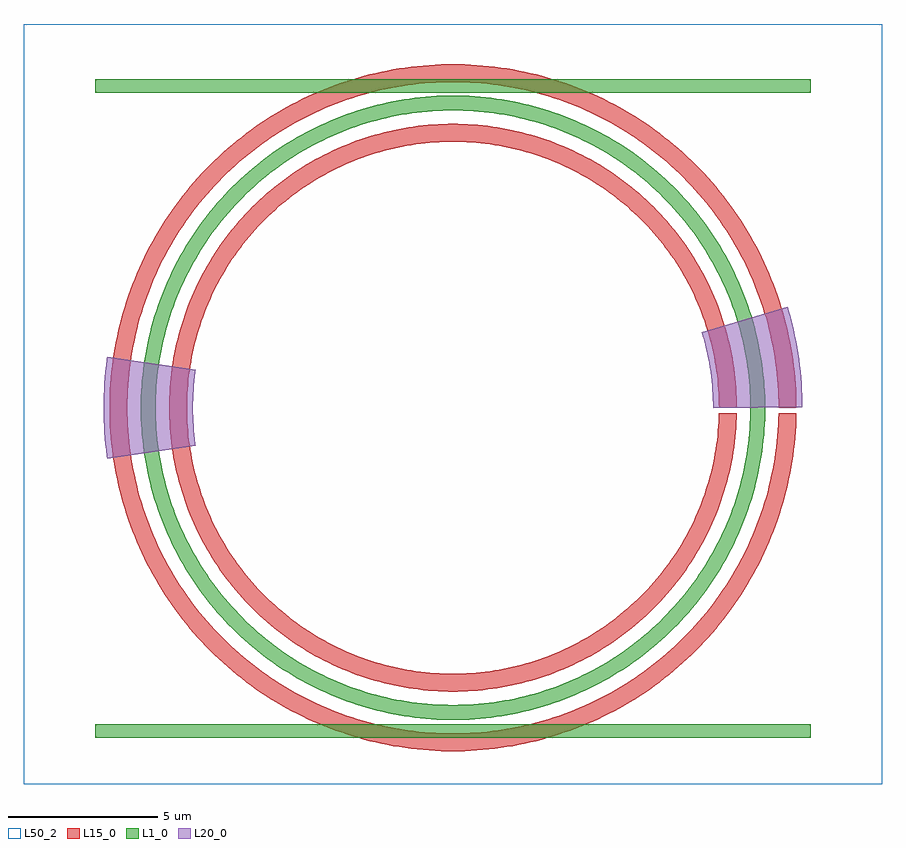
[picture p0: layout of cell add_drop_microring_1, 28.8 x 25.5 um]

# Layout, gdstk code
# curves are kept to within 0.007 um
import gdstk
lib = gdstk.Library(unit=1e-6, precision=1e-09)
def R(c, l, rs):  # rectangles x0, y0, x1, y1
    for r in rs: c.add(gdstk.rectangle(r[:2], r[2:], *l))
def P(c, l, *ps):  # polygons
    for p in ps: c.add(gdstk.Polygon(p, *l))
L1_0 = (1, 0)
L15_0 = (15, 0)
L20_0 = (20, 0)
L50_2 = (50, 2)

add_drop_microring_1 = lib.new_cell('add_drop_microring_1')
R(add_drop_microring_1, L1_0, [(0,-0.225,24,0.225), (0,21.425,24,21.875)])
P(add_drop_microring_1, L1_0, [(21.975,10.85),(21.969,11.198),(21.937,11.719),(21.878,12.238),(21.792,12.753),(21.679,13.263),(21.589,13.599),(21.432,14.098),(21.249,14.587),(21.04,15.066),(20.807,15.533),(20.55,15.987),(20.27,16.428),(19.966,16.853),(19.641,17.262),(19.413,17.525),(19.053,17.903),(18.675,18.263),(18.412,18.491),(18.003,18.816),(17.578,19.12),(17.137,19.4),(16.683,19.657),(16.216,19.89),(15.737,20.099),(15.248,20.282),(14.749,20.439),(14.413,20.529),(13.903,20.642),(13.388,20.728),(12.869,20.787),(12.348,20.819),(12,20.825),(11.652,20.819),(11.131,20.787),(10.612,20.728),(10.097,20.642),(9.587,20.529),(9.251,20.439),(8.752,20.282),(8.263,20.099),(7.943,19.963),(7.471,19.738),(7.013,19.489),(6.567,19.216),(6.137,18.92),(5.859,18.71),(5.588,18.491),(5.197,18.145),(4.947,17.903),(4.587,17.525),(4.359,17.262),(4.034,16.853),(3.73,16.428),(3.541,16.136),(3.361,15.837),(3.112,15.379),(2.887,14.907),(2.627,14.262),(2.411,13.599),(2.281,13.094),(2.148,12.41),(2.08,11.893),(2.031,11.198),(2.027,10.676),(1.527,10.667),(1.525,10.85),(1.539,11.398),(1.582,11.945),(1.654,12.489),(1.717,12.849),(1.836,13.384),(1.983,13.913),(2.157,14.433),(2.358,14.943),(2.506,15.277),(2.751,15.768),(3.021,16.245),(3.316,16.708),(3.634,17.154),(3.859,17.442),(4.216,17.859),(4.593,18.257),(4.991,18.634),(5.408,18.991),(5.696,19.216),(6.142,19.534),(6.605,19.829),(7.082,20.099),(7.573,20.344),(7.907,20.492),(8.417,20.693),(8.937,20.867),(9.466,21.014),(10.001,21.133),(10.361,21.196),(10.905,21.268),(11.452,21.311),(12,21.325),(12.548,21.311),(13.095,21.268),(13.639,21.196),(13.999,21.133),(14.534,21.014),(15.063,20.867),(15.583,20.693),(16.093,20.492),(16.592,20.265),(17.078,20.012),(17.551,19.733),(18.008,19.431),(18.449,19.104),(18.872,18.756),(19.277,18.385),(19.535,18.127),(19.906,17.722),(20.366,17.154),(20.684,16.708),(20.979,16.245),(21.249,15.768),(21.494,15.277),(21.712,14.774),(21.904,14.26),(22.017,13.913),(22.164,13.384),(22.316,12.669),(22.418,11.945),(22.461,11.398),(22.473,11.033),(22.475,10.85)],
  [(2.025,10.85),(2.031,10.502),(2.063,9.981),(2.122,9.462),(2.208,8.947),(2.321,8.437),(2.411,8.101),(2.568,7.602),(2.751,7.113),(2.96,6.634),(3.193,6.167),(3.45,5.713),(3.73,5.272),(4.034,4.847),(4.359,4.438),(4.587,4.175),(4.947,3.797),(5.325,3.437),(5.588,3.209),(5.997,2.884),(6.422,2.58),(6.863,2.3),(7.317,2.043),(7.784,1.81),(8.263,1.601),(8.752,1.418),(9.251,1.261),(9.587,1.171),(10.097,1.058),(10.612,0.972),(11.131,0.913),(11.652,0.881),(12,0.875),(12.348,0.881),(12.869,0.913),(13.388,0.972),(13.903,1.058),(14.413,1.171),(14.749,1.261),(15.248,1.418),(15.737,1.601),(16.057,1.737),(16.529,1.962),(16.987,2.211),(17.433,2.484),(17.863,2.78),(18.141,2.99),(18.412,3.209),(18.803,3.555),(19.053,3.797),(19.413,4.175),(19.641,4.438),(19.966,4.847),(20.27,5.272),(20.459,5.564),(20.639,5.863),(20.888,6.321),(21.113,6.793),(21.373,7.438),(21.589,8.101),(21.719,8.606),(21.852,9.29),(21.92,9.807),(21.969,10.502),(21.973,11.024),(22.473,11.033),(22.475,10.85),(22.461,10.302),(22.418,9.755),(22.346,9.211),(22.283,8.851),(22.164,8.316),(22.017,7.787),(21.843,7.267),(21.642,6.757),(21.494,6.423),(21.249,5.932),(20.979,5.455),(20.684,4.992),(20.366,4.546),(20.141,4.258),(19.784,3.841),(19.407,3.443),(19.009,3.066),(18.592,2.709),(18.304,2.484),(17.858,2.166),(17.395,1.871),(16.918,1.601),(16.427,1.356),(16.093,1.208),(15.583,1.007),(15.063,0.833),(14.534,0.686),(13.999,0.567),(13.639,0.504),(13.095,0.432),(12.548,0.389),(12,0.375),(11.452,0.389),(10.905,0.432),(10.361,0.504),(10.001,0.567),(9.466,0.686),(8.937,0.833),(8.417,1.007),(7.907,1.208),(7.408,1.435),(6.922,1.688),(6.449,1.967),(5.992,2.269),(5.551,2.596),(5.128,2.944),(4.723,3.315),(4.465,3.573),(4.094,3.978),(3.634,4.546),(3.316,4.992),(3.021,5.455),(2.751,5.932),(2.506,6.423),(2.288,6.926),(2.096,7.44),(1.983,7.787),(1.836,8.316),(1.684,9.031),(1.582,9.755),(1.539,10.302),(1.527,10.667),(1.525,10.85)])
P(add_drop_microring_1, L15_0, [(23.525,10.85),(23.509,11.453),(23.462,12.055),(23.383,12.653),(23.273,13.246),(23.132,13.833),(22.961,14.411),(22.76,14.98),(22.609,15.353),(22.359,15.902),(22.176,16.261),(21.879,16.786),(21.555,17.295),(21.324,17.624),(20.957,18.103),(20.565,18.562),(20.149,18.999),(19.712,19.415),(19.253,19.807),(18.774,20.174),(18.445,20.405),(17.936,20.729),(17.411,21.026),(17.052,21.209),(16.503,21.459),(16.13,21.61),(15.561,21.811),(14.983,21.982),(14.396,22.123),(13.803,22.233),(13.205,22.312),(12.603,22.359),(12,22.375),(11.397,22.359),(10.795,22.312),(10.197,22.233),(9.604,22.123),(9.017,21.982),(8.439,21.811),(7.87,21.61),(7.497,21.459),(6.948,21.209),(6.589,21.026),(6.064,20.729),(5.555,20.405),(5.226,20.174),(4.747,19.807),(4.288,19.415),(3.851,18.999),(3.435,18.562),(3.043,18.103),(2.676,17.624),(2.445,17.295),(2.121,16.786),(1.824,16.261),(1.641,15.902),(1.391,15.353),(1.24,14.98),(1.039,14.411),(0.868,13.833),(0.727,13.246),(0.617,12.653),(0.538,12.055),(0.491,11.453),(0.475,10.85),(0.491,10.247),(0.538,9.645),(0.617,9.047),(0.727,8.454),(0.868,7.867),(1.039,7.289),(1.24,6.72),(1.391,6.347),(1.641,5.798),(1.824,5.439),(2.121,4.914),(2.445,4.405),(2.676,4.076),(3.043,3.597),(3.435,3.138),(3.851,2.701),(4.288,2.285),(4.747,1.893),(5.226,1.526),(5.555,1.295),(6.064,0.971),(6.589,0.674),(6.948,0.491),(7.497,0.241),(7.87,0.09),(8.439,-0.111),(9.017,-0.282),(9.604,-0.423),(10.197,-0.533),(10.795,-0.612),(11.397,-0.659),(12,-0.675),(12.603,-0.659),(13.205,-0.612),(13.604,-0.563),(14.199,-0.463),(14.593,-0.38),(15.177,-0.229),(15.752,-0.047),(16.317,0.164),(16.871,0.405),(17.411,0.674),(17.763,0.869),(18.277,1.184),(18.61,1.409),(19.096,1.768),(19.561,2.152),(20.006,2.56),(20.429,2.99),(20.829,3.442),(21.082,3.754),(21.441,4.24),(21.666,4.573),(21.981,5.087),(22.269,5.618),(22.529,6.162),(22.76,6.72),(22.961,7.289),(23.079,7.673),(23.23,8.257),(23.35,8.849),(23.439,9.445),(23.497,10.046),(23.524,10.672),(22.924,10.672),(22.883,9.898),(22.844,9.519),(22.791,9.141),(22.645,8.392),(22.448,7.656),(22.266,7.113),(21.981,6.406),(21.646,5.721),(21.265,5.061),(20.949,4.584),(20.609,4.124),(20.119,3.54),(19.725,3.125),(19.31,2.731),(18.726,2.241),(18.266,1.901),(17.789,1.585),(17.297,1.295),(16.789,1.031),(16.269,0.793),(15.557,0.52),(14.828,0.297),(14.271,0.164),(13.709,0.059),(13.331,0.006),(12.952,-0.033),(12.572,-0.06),(12.191,-0.073),(11.619,-0.068),(10.858,-0.015),(10.291,0.059),(9.729,0.164),(9.172,0.297),(8.443,0.52),(7.907,0.72),(7.556,0.869),(7.211,1.031),(6.703,1.295),(6.211,1.585),(5.578,2.011),(4.978,2.481),(4.549,2.86),(4.01,3.399),(3.631,3.828),(3.161,4.428),(2.838,4.9),(2.635,5.223),(2.445,5.553),(2.181,6.061),(1.943,6.581),(1.67,7.293),(1.447,8.022),(1.276,8.765),(1.209,9.141),(1.156,9.519),(1.102,10.088),(1.075,10.85),(1.09,11.422),(1.156,12.181),(1.241,12.747),(1.399,13.493),(1.552,14.044),(1.734,14.587),(2.019,15.294),(2.266,15.81),(2.635,16.477),(2.943,16.959),(3.161,17.272),(3.391,17.576),(3.881,18.16),(4.275,18.575),(4.549,18.84),(4.978,19.219),(5.578,19.689),(6.211,20.115),(6.871,20.496),(7.556,20.831),(7.907,20.98),(8.443,21.18),(9.172,21.403),(9.915,21.574),(10.291,21.641),(10.669,21.694),(11.428,21.76),(12.191,21.773),(12.572,21.76),(13.142,21.715),(13.52,21.669),(13.897,21.609),(14.643,21.451),(15.376,21.24),(16.093,20.98),(16.444,20.831),(16.789,20.669),(17.463,20.311),(18.109,19.907),(18.422,19.689),(18.726,19.459),(19.31,18.969),(19.859,18.439),(20.369,17.872),(20.839,17.272),(21.057,16.959),(21.365,16.477),(21.734,15.81),(21.981,15.294),(22.13,14.943),(22.39,14.226),(22.601,13.493),(22.724,12.935),(22.791,12.559),(22.844,12.181),(22.898,11.612),(22.925,10.85)],
  [(21.525,10.85),(21.512,11.348),(21.473,11.846),(21.408,12.34),(21.317,12.83),(21.242,13.154),(21.109,13.635),(20.951,14.108),(20.768,14.572),(20.561,15.025),(20.331,15.468),(20.078,15.897),(19.897,16.176),(19.607,16.582),(19.297,16.973),(18.966,17.346),(18.735,17.585),(18.496,17.816),(18.123,18.147),(17.732,18.457),(17.326,18.747),(17.047,18.928),(16.618,19.181),(16.175,19.411),(15.722,19.618),(15.258,19.801),(14.785,19.959),(14.304,20.092),(13.98,20.167),(13.49,20.258),(12.996,20.323),(12.498,20.362),(12,20.375),(11.502,20.362),(11.004,20.323),(10.51,20.258),(10.02,20.167),(9.696,20.092),(9.215,19.959),(8.742,19.801),(8.278,19.618),(7.825,19.411),(7.382,19.181),(6.953,18.928),(6.674,18.747),(6.268,18.457),(5.877,18.147),(5.504,17.816),(5.265,17.585),(5.034,17.346),(4.703,16.973),(4.393,16.582),(4.103,16.176),(3.922,15.897),(3.669,15.468),(3.439,15.025),(3.232,14.572),(3.049,14.108),(2.891,13.635),(2.758,13.154),(2.683,12.83),(2.592,12.34),(2.527,11.846),(2.488,11.348),(2.475,10.85),(2.488,10.352),(2.527,9.854),(2.592,9.36),(2.683,8.87),(2.758,8.546),(2.891,8.065),(3.049,7.592),(3.232,7.128),(3.439,6.675),(3.669,6.232),(3.922,5.803),(4.103,5.524),(4.393,5.118),(4.703,4.727),(5.034,4.354),(5.265,4.115),(5.504,3.884),(5.877,3.553),(6.268,3.243),(6.674,2.953),(6.953,2.772),(7.382,2.519),(7.825,2.289),(8.278,2.082),(8.742,1.899),(9.215,1.741),(9.696,1.608),(10.02,1.533),(10.51,1.442),(11.004,1.377),(11.502,1.338),(12,1.325),(12.498,1.338),(12.83,1.361),(13.326,1.418),(13.817,1.5),(14.304,1.608),(14.785,1.741),(15.258,1.899),(15.568,2.019),(16.025,2.217),(16.472,2.44),(16.762,2.601),(17.188,2.862),(17.599,3.144),(17.864,3.344),(18.249,3.661),(18.617,3.998),(18.966,4.354),(19.297,4.727),(19.607,5.118),(19.897,5.524),(20.078,5.803),(20.331,6.232),(20.561,6.675),(20.768,7.128),(20.951,7.592),(21.109,8.065),(21.242,8.546),(21.317,8.87),(21.408,9.36),(21.473,9.854),(21.502,10.186),(21.523,10.672),(20.923,10.672),(20.891,10.072),(20.815,9.454),(20.696,8.842),(20.535,8.241),(20.332,7.652),(20.089,7.078),(19.806,6.523),(19.485,5.989),(19.22,5.604),(18.936,5.233),(18.633,4.878),(18.311,4.539),(17.972,4.217),(17.617,3.914),(17.119,3.539),(16.73,3.281),(16.327,3.044),(15.772,2.761),(15.343,2.575),(14.906,2.411),(14.31,2.229),(13.856,2.12),(13.396,2.035),(12.778,1.959),(12.311,1.93),(11.689,1.93),(11.222,1.959),(10.604,2.035),(10.144,2.12),(9.69,2.229),(9.094,2.411),(8.657,2.575),(8.228,2.761),(7.673,3.044),(7.27,3.281),(6.754,3.63),(6.383,3.914),(5.913,4.323),(5.58,4.65),(5.163,5.113),(4.872,5.479),(4.515,5.989),(4.194,6.523),(3.978,6.938),(3.725,7.507),(3.561,7.944),(3.379,8.54),(3.27,8.994),(3.185,9.454),(3.109,10.072),(3.08,10.539),(3.08,11.161),(3.109,11.628),(3.185,12.246),(3.304,12.858),(3.465,13.459),(3.613,13.903),(3.847,14.48),(4.048,14.902),(4.35,15.447),(4.601,15.841),(4.967,16.345),(5.367,16.822),(5.689,17.161),(6.145,17.586),(6.629,17.978),(7.139,18.335),(7.673,18.656),(8.228,18.939),(8.657,19.125),(8.947,19.237),(9.54,19.429),(10.144,19.58),(10.758,19.688),(11.067,19.726),(11.533,19.763),(12.156,19.774),(12.778,19.741),(13.396,19.665),(13.856,19.58),(14.159,19.51),(14.758,19.338),(15.343,19.125),(15.912,18.872),(16.462,18.579),(16.991,18.249),(17.495,17.883),(17.972,17.483),(18.311,17.161),(18.736,16.705),(19.128,16.221),(19.311,15.969),(19.569,15.58),(19.88,15.04),(20.153,14.48),(20.275,14.193),(20.439,13.756),(20.535,13.459),(20.66,13.009),(20.73,12.706),(20.815,12.246),(20.891,11.628),(20.92,11.161),(20.925,10.85)])
P(add_drop_microring_1, L20_0, [(23.725,10.863),(23.718,11.259),(23.696,11.668),(23.661,12.076),(23.611,12.482),(23.547,12.886),(23.469,13.288),(23.377,13.687),(23.226,14.233),(20.35,13.381),(20.501,12.813),(20.618,12.215),(20.66,11.913),(20.704,11.459),(20.725,10.837)],
  [(0.402,12.566),(0.339,12.076),(0.304,11.668),(0.282,11.259),(0.275,10.85),(0.282,10.441),(0.304,10.032),(0.339,9.624),(0.402,9.134),(3.369,9.577),(3.296,10.241),(3.275,10.85),(3.296,11.459),(3.369,12.123)])
R(add_drop_microring_1, L50_2, [(-2.4,-1.775,26.4,23.725)])

lib.write_gds('add_drop_microring_1.gds')
